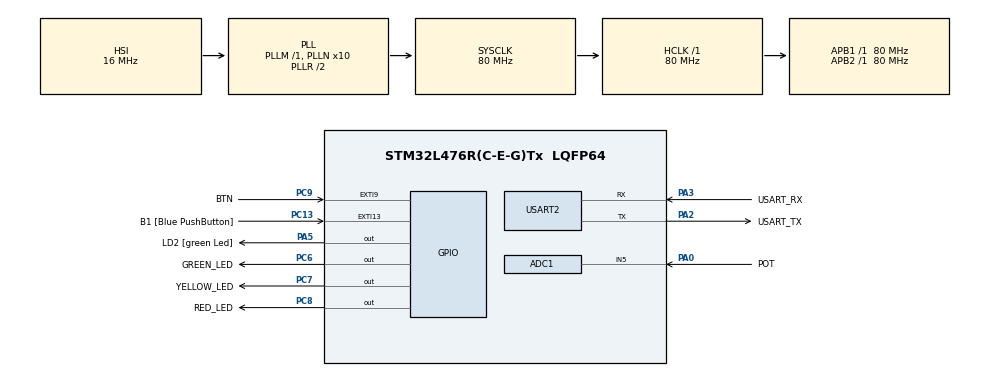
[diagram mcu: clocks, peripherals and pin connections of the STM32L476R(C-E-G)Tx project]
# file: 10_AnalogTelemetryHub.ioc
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ADC1.Channel-0\#ChannelRegularConversion=ADC_CHANNEL_5
ADC1.ContinuousConvMode=ENABLE
ADC1.DMAContinuousRequests=ENABLE
ADC1.NbrOfConversionFlag=1
ADC1.OffsetNumber-0\#ChannelRegularConversion=ADC_OFFSET_NONE
ADC1.OversamplingMode=DISABLE
ADC1.Rank-0\#ChannelRegularConversion=1
ADC1.SamplingTime-0\#ChannelRegularConversion=ADC_SAMPLETIME_640CYCLES_5
ADC1.master=1
Dma.ADC1.2.Direction=DMA_PERIPH_TO_MEMORY
Dma.ADC1.2.Instance=DMA1_Channel1
Dma.ADC1.2.MemDataAlignment=DMA_MDATAALIGN_HALFWORD
Dma.ADC1.2.MemInc=DMA_MINC_ENABLE
Dma.ADC1.2.Mode=DMA_CIRCULAR
Dma.ADC1.2.PeriphDataAlignment=DMA_PDATAALIGN_HALFWORD
Dma.ADC1.2.PeriphInc=DMA_PINC_DISABLE
Dma.ADC1.2.Priority=DMA_PRIORITY_LOW
Dma.Request0=USART2_RX
Dma.Request1=USART2_TX
Dma.Request2=ADC1
Dma.USART2_RX.0.Direction=DMA_PERIPH_TO_MEMORY
Dma.USART2_RX.0.Instance=DMA1_Channel6
Dma.USART2_RX.0.MemDataAlignment=DMA_MDATAALIGN_BYTE
Dma.USART2_RX.0.MemInc=DMA_MINC_ENABLE
Dma.USART2_RX.0.Mode=DMA_NORMAL
Dma.USART2_RX.0.PeriphDataAlignment=DMA_PDATAALIGN_BYTE
Dma.USART2_RX.0.PeriphInc=DMA_PINC_DISABLE
Dma.USART2_RX.0.Priority=DMA_PRIORITY_LOW
Dma.USART2_TX.1.Direction=DMA_MEMORY_TO_PERIPH
Dma.USART2_TX.1.Instance=DMA1_Channel7
Dma.USART2_TX.1.MemDataAlignment=DMA_MDATAALIGN_BYTE
Dma.USART2_TX.1.MemInc=DMA_MINC_ENABLE
Dma.USART2_TX.1.Mode=DMA_NORMAL
Dma.USART2_TX.1.PeriphDataAlignment=DMA_PDATAALIGN_BYTE
Dma.USART2_TX.1.PeriphInc=DMA_PINC_DISABLE
Dma.USART2_TX.1.Priority=DMA_PRIORITY_LOW
Mcu.Family=STM32L4
Mcu.Name=STM32L476R(C-E-G)Tx
Mcu.Package=LQFP64
NVIC.DMA1_Channel1_IRQn=true\:0\:0\:false\:false\:true\:false\:true\:true
NVIC.DMA1_Channel6_IRQn=true\:0\:0\:false\:false\:true\:false\:true\:true
NVIC.DMA1_Channel7_IRQn=true\:0\:0\:false\:false\:true\:false\:true\:true
NVIC.EXTI9_5_IRQn=true\:0\:0\:false\:false\:true\:true\:true\:true
NVIC.PriorityGroup=NVIC_PRIORITYGROUP_4
NVIC.USART2_IRQn=true\:0\:0\:false\:false\:true\:true\:true\:true
PA0.GPIO_Label=POT
PA0.Signal=ADCx_IN5
PA13\ (JTMS-SWDIO).GPIO_Label=TMS
PA13\ (JTMS-SWDIO).Mode=Serial_Wire
PA13\ (JTMS-SWDIO).Signal=SYS_JTMS-SWDIO
PA14\ (JTCK-SWCLK).GPIO_Label=TCK
PA14\ (JTCK-SWCLK).Mode=Serial_Wire
PA14\ (JTCK-SWCLK).Signal=SYS_JTCK-SWCLK
PA2.GPIO_Label=USART_TX
PA2.GPIO_Mode=GPIO_MODE_AF_PP
PA2.GPIO_PuPd=GPIO_NOPULL
PA2.GPIO_Speed=GPIO_SPEED_FREQ_VERY_HIGH
PA2.Mode=Asynchronous
PA2.Signal=USART2_TX
PA3.GPIO_Label=USART_RX
PA3.GPIO_Mode=GPIO_MODE_AF_PP
PA3.GPIO_PuPd=GPIO_NOPULL
PA3.GPIO_Speed=GPIO_SPEED_FREQ_VERY_HIGH
PA3.Mode=Asynchronous
PA3.Signal=USART2_RX
PA5.GPIO_Label=LD2 [green Led]
PA5.GPIO_ModeDefaultOutputPP=GPIO_MODE_OUTPUT_PP
PA5.GPIO_PuPd=GPIO_NOPULL
PA5.GPIO_Speed=GPIO_SPEED_FREQ_LOW
PA5.Signal=GPIO_Output
PB3\ (JTDO-TRACESWO).GPIO_Label=SWO
PB3\ (JTDO-TRACESWO).Signal=SYS_JTDO-SWO
PC13.GPIO_Label=B1 [Blue PushButton]
PC13.GPIO_ModeDefaultEXTI=GPIO_MODE_IT_FALLING
PC13.GPIO_PuPd=GPIO_NOPULL
PC13.Signal=GPXTI13
PC14-OSC32_IN\ (PC14).Mode=LSE-External-Oscillator
PC14-OSC32_IN\ (PC14).Signal=RCC_OSC32_IN
PC15-OSC32_OUT\ (PC15).Mode=LSE-External-Oscillator
PC15-OSC32_OUT\ (PC15).Signal=RCC_OSC32_OUT
PC6.GPIO_Label=GREEN_LED
PC6.Signal=GPIO_Output
PC7.GPIO_Label=YELLOW_LED
PC7.Signal=GPIO_Output
PC8.GPIO_Label=RED_LED
PC8.Signal=GPIO_Output
PC9.GPIO_Label=BTN
PC9.GPIO_ModeDefaultEXTI=GPIO_MODE_IT_FALLING
PC9.GPIO_PuPd=GPIO_PULLUP
PC9.Signal=GPXTI9
PH0-OSC_IN\ (PH0).Signal=RCC_OSC_IN
PH1-OSC_OUT\ (PH1).Signal=RCC_OSC_OUT
ProjectManager.HeapSize=0x200
ProjectManager.StackSize=0x400
ProjectManager.TargetToolchain=STM32CubeIDE
RCC.ADCFreq_Value=64000000
RCC.AHBFreq_Value=80000000
RCC.APB1Freq_Value=80000000
RCC.APB1TimFreq_Value=80000000
RCC.APB2Freq_Value=80000000
RCC.APB2TimFreq_Value=80000000
RCC.CortexFreq_Value=80000000
RCC.HCLKFreq_Value=80000000
RCC.HSE_VALUE=8000000
RCC.HSI_VALUE=16000000
RCC.MSI_VALUE=4000000
RCC.PLLN=10
RCC.PLLSourceVirtual=RCC_PLLSOURCE_HSI
RCC.PREFETCH_ENABLE=1
RCC.SYSCLKFreq_VALUE=80000000
RCC.SYSCLKSource=RCC_SYSCLKSOURCE_PLLCLK
RCC.USBFreq_Value=64000000
RCC.VCOOutputFreq_Value=160000000
SH.ADCx_IN5.0=ADC1_IN5,IN5-Single-Ended
USART2.VirtualMode-Asynchronous=VM_ASYNC
board=NUCLEO-L476RG

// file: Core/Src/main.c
/* USER CODE BEGIN Header */
/**
******************************************************************************
* @file           : main.c
* @brief          : Main program body
******************************************************************************
* @attention
*
* Copyright (c) 2026 STMicroelectronics.
* All rights reserved.
*
* This software is licensed under terms that can be found in the LICENSE file
* in the root directory of this software component.
* If no LICENSE file comes with this software, it is provided AS-IS.
*
******************************************************************************
*/
/* USER CODE END Header */
#include "main.h"

/* USER CODE BEGIN Includes */
#include <stdio.h>
#include <string.h>
/* USER CODE END Includes */

/* USER CODE BEGIN PTD */
typedef enum {
	MODE_SENDING,		// Pot controls LEDs
	MODE_RECEIVING		// UART commands control LEDs
} GameMode_t;

typedef enum {
STATE_SAFE,		// Green led
STATE_MID,		// Yellow led
STATE_WARNING,	// Red led
STATE_ALARM		// Blinking every 250ms red led
} SystemState_t;

SystemState_t currentState = STATE_SAFE;
/* USER CODE END PTD */

ADC_HandleTypeDef hadc1;
DMA_HandleTypeDef hdma_adc1;

UART_HandleTypeDef huart2;
DMA_HandleTypeDef hdma_usart2_rx;
DMA_HandleTypeDef hdma_usart2_tx;

/* USER CODE BEGIN PV */
volatile GameMode_t current_mode = MODE_SENDING;
/* USER CODE END PV */

void SystemClock_Config(void);
static void MX_GPIO_Init(void);
static void MX_DMA_Init(void);
static void MX_ADC1_Init(void);
static void MX_USART2_UART_Init(void);

/* USER CODE BEGIN 0 */
volatile uint16_t data_buffer[1];
char tx_buffer[64];

char rx_buffer[7];
volatile uint8_t command_ready = 0;
/* USER CODE END 0 */

int main(void)
{

  /* MCU Configuration--------------------------------------------------------*/

  /* Reset of all peripherals, Initializes the Flash interface and the Systick. */
  HAL_Init();

  /* Configure the system clock */
  SystemClock_Config();

  /* Initialize all configured peripherals */
  MX_GPIO_Init();
  MX_DMA_Init();
  MX_ADC1_Init();
  MX_USART2_UART_Init();
  /* USER CODE BEGIN 2 */
  // 1. Sanity check boot message
  char boot_msg[] = "SYSTEM BOOTING...\r\n";
  HAL_UART_Transmit(&huart2, (uint8_t*)boot_msg, strlen(boot_msg), 1000);

  // 2. Calibrate the L4 ADC before starting
  HAL_ADCEx_Calibration_Start(&hadc1, ADC_SINGLE_ENDED);

  // 3. Start the DMA stream
  HAL_ADC_Start_DMA(&hadc1, (uint32_t*)data_buffer, 1);

  // 4. Surgically kill the DMA interrupts to prevent the CPU crash
  __HAL_DMA_DISABLE_IT(&hdma_adc1, DMA_IT_TC | DMA_IT_HT | DMA_IT_TE);

  HAL_UART_Receive_DMA(&huart2, (uint8_t*)rx_buffer, sizeof(rx_buffer));
  /* USER CODE END 2 */

  /* Infinite loop */
  /* USER CODE BEGIN WHILE */
while (1)
{
	// The mode announcer
	static GameMode_t last_known_mode = MODE_SENDING;

	if (current_mode != last_known_mode)
	{
		if (current_mode == MODE_RECEIVING)
		{
			static char msg[] = "\r\n--- ENTERED RECEIVING MODE ---\r\n";
			HAL_UART_Transmit(&huart2, (uint8_t*)msg, strlen(msg), 100);
		}
		else if (current_mode == MODE_SENDING)
		{
			static char msg[] = "\r\n--- ENTERED SENDING MODE ---\r\n";
			HAL_UART_Transmit(&huart2, (uint8_t*)msg, strlen(msg), 100);
		}
	}

	last_known_mode = current_mode;

	switch (current_mode)
	{
		case MODE_SENDING:
		{
			// 1. State Machine with Hysteresis (Deadband filter)
			if (currentState == STATE_SAFE)
			{
				if (data_buffer[0] > 1250) currentState = STATE_MID;
			}
			else if (currentState == STATE_MID)
			{
				if (data_buffer[0] < 1150) currentState = STATE_SAFE;
				else if (data_buffer[0] > 2450) currentState = STATE_WARNING;
			}
			else if (currentState == STATE_WARNING)
			{
				if (data_buffer[0] < 2350) currentState = STATE_MID;
				else if (data_buffer[0] > 3650) currentState = STATE_ALARM;
			}
			else if (currentState == STATE_ALARM)
			{
				if (data_buffer[0] < 3550) currentState = STATE_WARNING;
			}

			// 2. Smart Value & State Tracking
			static uint16_t last_pot_value = 0xFFFF;
			static SystemState_t last_sent_state = (SystemState_t)99;

			// FIX: Freeze the volatile memory into a snapshot for this loop iteration
			uint16_t current_pot = data_buffer[0];

			// Calculate absolute difference using the frozen snapshot
			uint16_t value_diff = (current_pot > last_pot_value) ? (current_pot - last_pot_value) : (last_pot_value - current_pot);

			// Transmit ONLY if you turned the dial more than 100 units, OR if the LED state changed
			if (value_diff > 50 || currentState != last_sent_state)
			{
				if (currentState == STATE_SAFE)
				{
					snprintf(tx_buffer, sizeof(tx_buffer), "STATE SAFE | Pot:%u\r\n", current_pot);
				}
				else if (currentState == STATE_MID)
				{
					snprintf(tx_buffer, sizeof(tx_buffer), "STATE MID | Pot:%u\r\n", current_pot);
				}
				else if (currentState == STATE_WARNING)
				{
					snprintf(tx_buffer, sizeof(tx_buffer), "STATE WARNING | Pot:%u\r\n", current_pot);
				}
				else if (currentState == STATE_ALARM)
				{
					snprintf(tx_buffer, sizeof(tx_buffer), "STATE ALARM | Pot:%u\r\n", current_pot);
				}

				// Fire the DMA transmission
				HAL_UART_Transmit_DMA(&huart2, (uint8_t*)tx_buffer, strlen(tx_buffer));

				// Lock the gates using the snapshot
				last_pot_value = current_pot;
				last_sent_state = currentState;
			}

			switch (currentState)
			{
				case STATE_SAFE:
					// Green led
					HAL_GPIO_WritePin(GPIOC, GREEN_LED_Pin, GPIO_PIN_SET);
					HAL_GPIO_WritePin(GPIOC, YELLOW_LED_Pin, GPIO_PIN_RESET);
					HAL_GPIO_WritePin(GPIOC, RED_LED_Pin, GPIO_PIN_RESET);
					break;

				case STATE_MID:
					// Yellow led
					HAL_GPIO_WritePin(GPIOC, GREEN_LED_Pin, GPIO_PIN_RESET);
					HAL_GPIO_WritePin(GPIOC, YELLOW_LED_Pin, GPIO_PIN_SET);
					HAL_GPIO_WritePin(GPIOC, RED_LED_Pin, GPIO_PIN_RESET);
					break;

				case STATE_WARNING:
					// Red led
					HAL_GPIO_WritePin(GPIOC, GREEN_LED_Pin, GPIO_PIN_RESET);
					HAL_GPIO_WritePin(GPIOC, YELLOW_LED_Pin, GPIO_PIN_RESET);
					HAL_GPIO_WritePin(GPIOC, RED_LED_Pin, GPIO_PIN_SET);
					break;

				case STATE_ALARM:
					// Blinking red led every 250 ms
					// static keyword means it won't get erased when the loop restarts
					static uint32_t last_toggle_time = 0;

					if (HAL_GetTick() - last_toggle_time >= 250)
					{
						HAL_GPIO_WritePin(GPIOC, GREEN_LED_Pin, GPIO_PIN_RESET);
						HAL_GPIO_WritePin(GPIOC, YELLOW_LED_Pin, GPIO_PIN_RESET);
						HAL_GPIO_TogglePin(GPIOC, RED_LED_Pin);

						last_toggle_time = HAL_GetTick();
					}
				break;
			}
		}
			break;

			case MODE_RECEIVING:
				if (command_ready == 1)
				{
					// Instantly lower the flag
					command_ready = 0;

					// Parse the prefix
					if (strncmp((char*)rx_buffer, "LCD:", 4) == 0)
					{
						// 3. Read specific array indices.
						// rx_buffer[0] = 'L', [1] = 'C', [2] = 'D', [3] = ':'
						// rx_buffer[4] = Green, [5] = Yellow, [6] = Red

						HAL_GPIO_WritePin(GPIOC, GREEN_LED_Pin, (rx_buffer[4] == '1') ? GPIO_PIN_SET : GPIO_PIN_RESET);
						HAL_GPIO_WritePin(GPIOC, YELLOW_LED_Pin, (rx_buffer[5] == '1') ? GPIO_PIN_SET : GPIO_PIN_RESET);
						HAL_GPIO_WritePin(GPIOC, RED_LED_Pin, (rx_buffer[6] == '1') ? GPIO_PIN_SET : GPIO_PIN_RESET);
					}
				}
			break;
		}

    /* USER CODE END WHILE */

}
}

void SystemClock_Config(void)
{
  RCC_OscInitTypeDef RCC_OscInitStruct = {0};
  RCC_ClkInitTypeDef RCC_ClkInitStruct = {0};

  /** Configure the main internal regulator output voltage
  */
  if (HAL_PWREx_ControlVoltageScaling(PWR_REGULATOR_VOLTAGE_SCALE1) != HAL_OK)
  {
    Error_Handler();
  }

  /** Initializes the RCC Oscillators according to the specified parameters
  * in the RCC_OscInitTypeDef structure.
  */
  RCC_OscInitStruct.OscillatorType = RCC_OSCILLATORTYPE_HSI;
  RCC_OscInitStruct.HSIState = RCC_HSI_ON;
  RCC_OscInitStruct.HSICalibrationValue = RCC_HSICALIBRATION_DEFAULT;
  RCC_OscInitStruct.PLL.PLLState = RCC_PLL_ON;
  RCC_OscInitStruct.PLL.PLLSource = RCC_PLLSOURCE_HSI;
  RCC_OscInitStruct.PLL.PLLM = 1;
  RCC_OscInitStruct.PLL.PLLN = 10;
  RCC_OscInitStruct.PLL.PLLP = RCC_PLLP_DIV7;
  RCC_OscInitStruct.PLL.PLLQ = RCC_PLLQ_DIV2;
  RCC_OscInitStruct.PLL.PLLR = RCC_PLLR_DIV2;
  if (HAL_RCC_OscConfig(&RCC_OscInitStruct) != HAL_OK)
  {
    Error_Handler();
  }

  /** Initializes the CPU, AHB and APB buses clocks
  */
  RCC_ClkInitStruct.ClockType = RCC_CLOCKTYPE_HCLK|RCC_CLOCKTYPE_SYSCLK
                              |RCC_CLOCKTYPE_PCLK1|RCC_CLOCKTYPE_PCLK2;
  RCC_ClkInitStruct.SYSCLKSource = RCC_SYSCLKSOURCE_PLLCLK;
  RCC_ClkInitStruct.AHBCLKDivider = RCC_SYSCLK_DIV1;
  RCC_ClkInitStruct.APB1CLKDivider = RCC_HCLK_DIV1;
  RCC_ClkInitStruct.APB2CLKDivider = RCC_HCLK_DIV1;

  if (HAL_RCC_ClockConfig(&RCC_ClkInitStruct, FLASH_LATENCY_4) != HAL_OK)
  {
    Error_Handler();
  }
}

static void MX_ADC1_Init(void)
{

  ADC_MultiModeTypeDef multimode = {0};
  ADC_ChannelConfTypeDef sConfig = {0};

  /** Common config
  */
  hadc1.Instance = ADC1;
  hadc1.Init.ClockPrescaler = ADC_CLOCK_ASYNC_DIV1;
  hadc1.Init.Resolution = ADC_RESOLUTION_12B;
  hadc1.Init.DataAlign = ADC_DATAALIGN_RIGHT;
  hadc1.Init.ScanConvMode = ADC_SCAN_DISABLE;
  hadc1.Init.EOCSelection = ADC_EOC_SINGLE_CONV;
  hadc1.Init.LowPowerAutoWait = DISABLE;
  hadc1.Init.ContinuousConvMode = ENABLE;
  hadc1.Init.NbrOfConversion = 1;
  hadc1.Init.DiscontinuousConvMode = DISABLE;
  hadc1.Init.ExternalTrigConv = ADC_SOFTWARE_START;
  hadc1.Init.ExternalTrigConvEdge = ADC_EXTERNALTRIGCONVEDGE_NONE;
  hadc1.Init.DMAContinuousRequests = ENABLE;
  hadc1.Init.Overrun = ADC_OVR_DATA_PRESERVED;
  hadc1.Init.OversamplingMode = DISABLE;
  if (HAL_ADC_Init(&hadc1) != HAL_OK)
  {
    Error_Handler();
  }

  /** Configure the ADC multi-mode
  */
  multimode.Mode = ADC_MODE_INDEPENDENT;
  if (HAL_ADCEx_MultiModeConfigChannel(&hadc1, &multimode) != HAL_OK)
  {
    Error_Handler();
  }

  /** Configure Regular Channel
  */
  sConfig.Channel = ADC_CHANNEL_5;
  sConfig.Rank = ADC_REGULAR_RANK_1;
  sConfig.SamplingTime = ADC_SAMPLETIME_640CYCLES_5;
  sConfig.SingleDiff = ADC_SINGLE_ENDED;
  sConfig.OffsetNumber = ADC_OFFSET_NONE;
  sConfig.Offset = 0;
  if (HAL_ADC_ConfigChannel(&hadc1, &sConfig) != HAL_OK)
  {
    Error_Handler();
  }

}

static void MX_USART2_UART_Init(void)
{

  huart2.Instance = USART2;
  huart2.Init.BaudRate = 115200;
  huart2.Init.WordLength = UART_WORDLENGTH_8B;
  huart2.Init.StopBits = UART_STOPBITS_1;
  huart2.Init.Parity = UART_PARITY_NONE;
  huart2.Init.Mode = UART_MODE_TX_RX;
  huart2.Init.HwFlowCtl = UART_HWCONTROL_NONE;
  huart2.Init.OverSampling = UART_OVERSAMPLING_16;
  huart2.Init.OneBitSampling = UART_ONE_BIT_SAMPLE_DISABLE;
  huart2.AdvancedInit.AdvFeatureInit = UART_ADVFEATURE_NO_INIT;
  if (HAL_UART_Init(&huart2) != HAL_OK)
  {
    Error_Handler();
  }

}

static void MX_DMA_Init(void)
{

  /* DMA controller clock enable */
  __HAL_RCC_DMA1_CLK_ENABLE();

  /* DMA interrupt init */
  /* DMA1_Channel1_IRQn interrupt configuration */
  HAL_NVIC_SetPriority(DMA1_Channel1_IRQn, 0, 0);
  HAL_NVIC_EnableIRQ(DMA1_Channel1_IRQn);
  /* DMA1_Channel6_IRQn interrupt configuration */
  HAL_NVIC_SetPriority(DMA1_Channel6_IRQn, 0, 0);
  HAL_NVIC_EnableIRQ(DMA1_Channel6_IRQn);
  /* DMA1_Channel7_IRQn interrupt configuration */
  HAL_NVIC_SetPriority(DMA1_Channel7_IRQn, 0, 0);
  HAL_NVIC_EnableIRQ(DMA1_Channel7_IRQn);

}

static void MX_GPIO_Init(void)
{
  GPIO_InitTypeDef GPIO_InitStruct = {0};

  /* GPIO Ports Clock Enable */
  __HAL_RCC_GPIOC_CLK_ENABLE();
  __HAL_RCC_GPIOH_CLK_ENABLE();
  __HAL_RCC_GPIOA_CLK_ENABLE();
  __HAL_RCC_GPIOB_CLK_ENABLE();

  /*Configure GPIO pin Output Level */
  HAL_GPIO_WritePin(LD2_GPIO_Port, LD2_Pin, GPIO_PIN_RESET);

  /*Configure GPIO pin Output Level */
  HAL_GPIO_WritePin(GPIOC, GREEN_LED_Pin|YELLOW_LED_Pin|RED_LED_Pin, GPIO_PIN_RESET);

  /*Configure GPIO pin : B1_Pin */
  GPIO_InitStruct.Pin = B1_Pin;
  GPIO_InitStruct.Mode = GPIO_MODE_IT_FALLING;
  GPIO_InitStruct.Pull = GPIO_NOPULL;
  HAL_GPIO_Init(B1_GPIO_Port, &GPIO_InitStruct);

  /*Configure GPIO pin : LD2_Pin */
  GPIO_InitStruct.Pin = LD2_Pin;
  GPIO_InitStruct.Mode = GPIO_MODE_OUTPUT_PP;
  GPIO_InitStruct.Pull = GPIO_NOPULL;
  GPIO_InitStruct.Speed = GPIO_SPEED_FREQ_LOW;
  HAL_GPIO_Init(LD2_GPIO_Port, &GPIO_InitStruct);

  /*Configure GPIO pins : GREEN_LED_Pin YELLOW_LED_Pin RED_LED_Pin */
  GPIO_InitStruct.Pin = GREEN_LED_Pin|YELLOW_LED_Pin|RED_LED_Pin;
  GPIO_InitStruct.Mode = GPIO_MODE_OUTPUT_PP;
  GPIO_InitStruct.Pull = GPIO_NOPULL;
  GPIO_InitStruct.Speed = GPIO_SPEED_FREQ_LOW;
  HAL_GPIO_Init(GPIOC, &GPIO_InitStruct);

  /*Configure GPIO pin : BTN_Pin */
  GPIO_InitStruct.Pin = BTN_Pin;
  GPIO_InitStruct.Mode = GPIO_MODE_IT_FALLING;
  GPIO_InitStruct.Pull = GPIO_PULLUP;
  HAL_GPIO_Init(BTN_GPIO_Port, &GPIO_InitStruct);

  /* EXTI interrupt init*/
  HAL_NVIC_SetPriority(EXTI9_5_IRQn, 0, 0);
  HAL_NVIC_EnableIRQ(EXTI9_5_IRQn);

}

/* USER CODE BEGIN 4 */
void HAL_UART_RxCpltCallback(UART_HandleTypeDef *huart)
{
	if (huart->Instance == USART2)
	{
		// Raise the flag so the while loop knows new data arrived
		command_ready = 1;

		// Re-arm the DMA to listen for the next 7 chars
		HAL_UART_Receive_DMA(huart, (uint8_t*)rx_buffer, 7);
	}
}

void HAL_GPIO_EXTI_Callback(uint16_t GPIO_Pin)
{
	// Check if the interrupt came from PC9 (BTN_Pin)
	if (GPIO_Pin == BTN_Pin)
	{
		static uint32_t last_button_press = 0;
		uint32_t current_time = HAL_GetTick();

		// Debounce 250ms must pass
		if (current_time - last_button_press > 250)
		{
			if (current_mode == MODE_SENDING)
			{
				current_mode = MODE_RECEIVING;
			}
			else if (current_mode == MODE_RECEIVING)
			{
				current_mode = MODE_SENDING;
			}

			last_button_press = current_time;
		}
	}
}
/* USER CODE END 4 */

void Error_Handler(void)
{
__disable_irq();
while (1)
{
}
}
